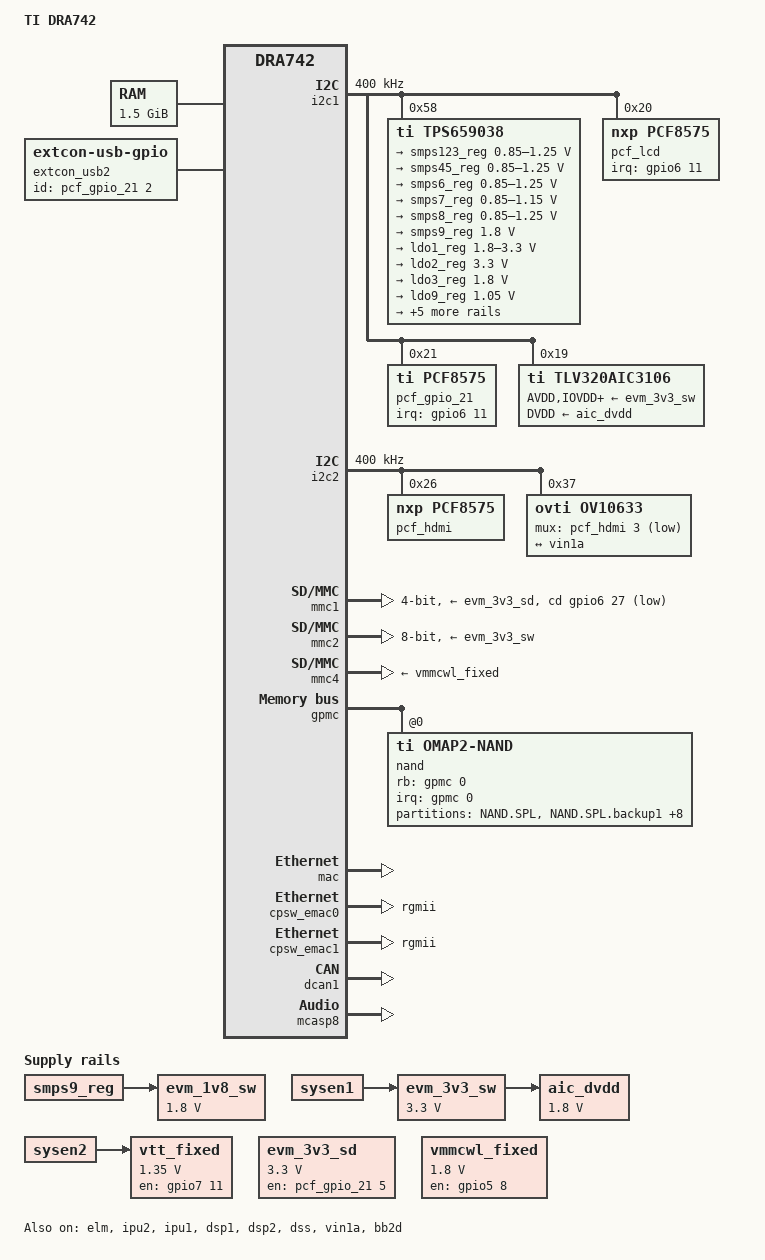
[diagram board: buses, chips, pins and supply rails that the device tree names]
/*
 * Copyright (C) 2013 Texas Instruments Incorporated - http://www.ti.com/
 *
 * This program is free software; you can redistribute it and/or modify
 * it under the terms of the GNU General Public License version 2 as
 * published by the Free Software Foundation.
 */
/dts-v1/;

#include "dra74x.dtsi"
#include "dra7-evm-common.dtsi"

/ {
	model = "TI DRA742";
	compatible = "ti,dra7-evm", "ti,dra742", "ti,dra74", "ti,dra7";

	memory {
		device_type = "memory";
		reg = <0x0 0x80000000 0x0 0x60000000>; /* 1536 MB */
	};

	reserved-memory {
		#address-cells = <2>;
		#size-cells = <2>;
		ranges;

		ipu2_cma_pool: ipu2_cma@95800000 {
			compatible = "shared-dma-pool";
			reg = <0x0 0x95800000 0x0 0x3800000>;
			reusable;
			status = "okay";
		};

		dsp1_cma_pool: dsp1_cma@99000000 {
			compatible = "shared-dma-pool";
			reg = <0x0 0x99000000 0x0 0x4000000>;
			reusable;
			status = "okay";
		};

		ipu1_cma_pool: ipu1_cma@9d000000 {
			compatible = "shared-dma-pool";
			reg = <0x0 0x9d000000 0x0 0x2000000>;
			reusable;
			status = "okay";
		};

		dsp2_cma_pool: dsp2_cma@9f000000 {
			compatible = "shared-dma-pool";
			reg = <0x0 0x9f000000 0x0 0x800000>;
			reusable;
			status = "okay";
		};
	};

	evm_1v8_sw: fixedregulator-evm_1v8 {
		compatible = "regulator-fixed";
		regulator-name = "evm_1v8";
		vin-supply = <&smps9_reg>;
		regulator-min-microvolt = <1800000>;
		regulator-max-microvolt = <1800000>;
	};

	evm_3v3_sd: fixedregulator-sd {
		compatible = "regulator-fixed";
		regulator-name = "evm_3v3_sd";
		regulator-min-microvolt = <3300000>;
		regulator-max-microvolt = <3300000>;
		enable-active-high;
		gpio = <&pcf_gpio_21 5 GPIO_ACTIVE_HIGH>;
	};

	evm_3v3_sw: fixedregulator-evm_3v3_sw {
		compatible = "regulator-fixed";
		regulator-name = "evm_3v3_sw";
		vin-supply = <&sysen1>;
		regulator-min-microvolt = <3300000>;
		regulator-max-microvolt = <3300000>;
	};

	aic_dvdd: fixedregulator-aic_dvdd {
		/* TPS77018DBVT */
		compatible = "regulator-fixed";
		regulator-name = "aic_dvdd";
		vin-supply = <&evm_3v3_sw>;
		regulator-min-microvolt = <1800000>;
		regulator-max-microvolt = <1800000>;
	};

	vmmcwl_fixed: fixedregulator-mmcwl {
		compatible = "regulator-fixed";
		regulator-name = "vmmcwl_fixed";
		regulator-min-microvolt = <1800000>;
		regulator-max-microvolt = <1800000>;
		gpio = <&gpio5 8 0>;	/* gpio5_8 */
		startup-delay-us = <70000>;
		enable-active-high;
	};

	vtt_fixed: fixedregulator-vtt {
		compatible = "regulator-fixed";
		regulator-name = "vtt_fixed";
		regulator-min-microvolt = <1350000>;
		regulator-max-microvolt = <1350000>;
		regulator-always-on;
		regulator-boot-on;
		enable-active-high;
		vin-supply = <&sysen2>;
		gpio = <&gpio7 11 GPIO_ACTIVE_HIGH>;
	};

	extcon_usb2: extcon_usb2 {
		compatible = "linux,extcon-usb-gpio";
		id-gpio = <&pcf_gpio_21 2 GPIO_ACTIVE_HIGH>;
	};

};

&tpd12s015 {
	compatible = "ti,dra7evm-tpd12s015";
	pinctrl-names = "i2c", "ddc";
	pinctrl-0 = <&hdmi_i2c_sel_pin &hdmi_i2c_pins_i2c>;
	pinctrl-1 = <&hdmi_i2c_sel_pin &hdmi_i2c_pins_ddc>;

	gpios = <&pcf_hdmi 4 GPIO_ACTIVE_HIGH>,	/* P4, CT CP HPD */
		<&pcf_hdmi 5 GPIO_ACTIVE_HIGH>,	/* P5, LS OE */
		<&gpio7 12 GPIO_ACTIVE_HIGH>;	/* gpio7_12/sp1_cs2, HPD */

	ddc-i2c-bus = <&i2c2>;
	mcasp-gpio = <&mcasp8>;
};

&dra7_pmx_core {
	hdmi_i2c_sel_pin: pinmux_hdmi_i2c_sel_pin {
		pinctrl-single,pins = <
			/* this pin is used as a GPIO via mcasp */
			0x2fc   (PIN_OUTPUT | MUX_MODE1) /* mcasp8_axr2 */
		>;
	};

	hdmi_i2c_pins_i2c: pinmux_hdmi_i2c_pins_default {
		pinctrl-single,pins = <
			0x408   (PIN_INPUT | MUX_MODE0) /* i2c2_sda.i2c2_sda */
			0x40c   (PIN_INPUT | MUX_MODE0) /* i2c2_scl.i2c2_scl */
		>;
	};

	hdmi_i2c_pins_ddc: pinmux_hdmi_i2c_pins_ddc {
		pinctrl-single,pins = <
			0x408   (PIN_INPUT | MUX_MODE1) /* i2c2_sda.hdmi1_ddc_scl */
			0x40c   (PIN_INPUT | MUX_MODE1) /* i2c2_scl.hdmi1_ddc_sda */
		>;
	};

	dcan1_pins_default: dcan1_pins_default {
		pinctrl-single,pins = <
			0x3d0   (PIN_OUTPUT_PULLUP | MUX_MODE0) /* dcan1_tx */
			0x418   (PULL_UP | MUX_MODE1) /* wakeup0.dcan1_rx */
		>;
	};

	dcan1_pins_sleep: dcan1_pins_sleep {
		pinctrl-single,pins = <
			0x3d0   (MUX_MODE15 | PULL_UP)	/* dcan1_tx.off */
			0x418   (MUX_MODE15 | PULL_UP)	/* wakeup0.off */
		>;
	};

	mmc1_pins_default: pinmux_mmc1_default_pins {
		pinctrl-single,pins = <
			0x354 (PIN_INPUT_PULLUP | MUX_MODE0)	/* mmc1_clk.clk */
			0x358 (PIN_INPUT_PULLUP | MUX_MODE0)	/* mmc1_cmd.cmd */
			0x35c (PIN_INPUT_PULLUP | MUX_MODE0)	/* mmc1_dat0.dat0 */
			0x360 (PIN_INPUT_PULLUP | MUX_MODE0)	/* mmc1_dat1.dat1 */
			0x364 (PIN_INPUT_PULLUP | MUX_MODE0)	/* mmc1_dat2.dat2 */
			0x368 (PIN_INPUT_PULLUP | MUX_MODE0)	/* mmc1_dat3.dat3 */
		>;
	};

	mmc1_pins_sdr12: pinmux_mmc1_sdr12_pins {
		pinctrl-single,pins = <
			0x354 (PIN_INPUT_PULLUP | MUX_MODE0)	/* mmc1_clk.clk */
			0x358 (PIN_INPUT_PULLUP | MUX_MODE0)	/* mmc1_cmd.cmd */
			0x35c (PIN_INPUT_PULLUP | MUX_MODE0)	/* mmc1_dat0.dat0 */
			0x360 (PIN_INPUT_PULLUP | MUX_MODE0)	/* mmc1_dat1.dat1 */
			0x364 (PIN_INPUT_PULLUP | MUX_MODE0)	/* mmc1_dat2.dat2 */
			0x368 (PIN_INPUT_PULLUP | MUX_MODE0)	/* mmc1_dat3.dat3 */
		>;
	};

	mmc1_pins_hs: pinmux_mmc1_hs_pins {
		pinctrl-single,pins = <
			0x354 (PIN_INPUT_PULLUP | MUX_VIRTUAL_MODE11 | MUX_MODE0)	/* mmc1_clk.clk */
			0x358 (PIN_INPUT_PULLUP | MUX_VIRTUAL_MODE11 | MUX_MODE0)	/* mmc1_cmd.cmd */
			0x35c (PIN_INPUT_PULLUP | MUX_VIRTUAL_MODE11 | MUX_MODE0)	/* mmc1_dat0.dat0 */
			0x360 (PIN_INPUT_PULLUP | MUX_VIRTUAL_MODE11 | MUX_MODE0)	/* mmc1_dat1.dat1 */
			0x364 (PIN_INPUT_PULLUP | MUX_VIRTUAL_MODE11 | MUX_MODE0)	/* mmc1_dat2.dat2 */
			0x368 (PIN_INPUT_PULLUP | MUX_VIRTUAL_MODE11 | MUX_MODE0)	/* mmc1_dat3.dat3 */
		>;
	};

	mmc1_pins_sdr25: pinmux_mmc1_sdr25_pins {
		pinctrl-single,pins = <
			0x354 (PIN_INPUT_PULLUP | MUX_VIRTUAL_MODE11 | MUX_MODE0)	/* mmc1_clk.clk */
			0x358 (PIN_INPUT_PULLUP | MUX_VIRTUAL_MODE11 | MUX_MODE0)	/* mmc1_cmd.cmd */
			0x35c (PIN_INPUT_PULLUP | MUX_VIRTUAL_MODE11 | MUX_MODE0)	/* mmc1_dat0.dat0 */
			0x360 (PIN_INPUT_PULLUP | MUX_VIRTUAL_MODE11 | MUX_MODE0)	/* mmc1_dat1.dat1 */
			0x364 (PIN_INPUT_PULLUP | MUX_VIRTUAL_MODE11 | MUX_MODE0)	/* mmc1_dat2.dat2 */
			0x368 (PIN_INPUT_PULLUP | MUX_VIRTUAL_MODE11 | MUX_MODE0)	/* mmc1_dat3.dat3 */
		>;
	};

	mmc1_pins_sdr50: pinmux_mmc1_sdr50_pins {
		pinctrl-single,pins = <
			0x354 (PIN_INPUT_PULLUP | MUX_VIRTUAL_MODE10 | MUX_MODE0)	/* mmc1_clk.clk */
			0x358 (PIN_INPUT_PULLUP | MUX_VIRTUAL_MODE10 | MUX_MODE0)	/* mmc1_cmd.cmd */
			0x35c (PIN_INPUT_PULLUP | MUX_VIRTUAL_MODE10 | MUX_MODE0)	/* mmc1_dat0.dat0 */
			0x360 (PIN_INPUT_PULLUP | MUX_VIRTUAL_MODE10 | MUX_MODE0)	/* mmc1_dat1.dat1 */
			0x364 (PIN_INPUT_PULLUP | MUX_VIRTUAL_MODE10 | MUX_MODE0)	/* mmc1_dat2.dat2 */
			0x368 (PIN_INPUT_PULLUP | MUX_VIRTUAL_MODE10 | MUX_MODE0)	/* mmc1_dat3.dat3 */
		>;
	};

	mmc1_pins_ddr50: pinmux_mmc1_ddr50_pins {
		pinctrl-single,pins = <
			0x354 (PIN_INPUT_PULLUP | MANUAL_MODE | MUX_MODE0)	/* mmc1_clk.clk */
			0x358 (PIN_INPUT_PULLUP | MANUAL_MODE | MUX_MODE0)	/* mmc1_cmd.cmd */
			0x35c (PIN_INPUT_PULLUP | MANUAL_MODE | MUX_MODE0)	/* mmc1_dat0.dat0 */
			0x360 (PIN_INPUT_PULLUP | MANUAL_MODE | MUX_MODE0)	/* mmc1_dat1.dat1 */
			0x364 (PIN_INPUT_PULLUP | MANUAL_MODE | MUX_MODE0)	/* mmc1_dat2.dat2 */
			0x368 (PIN_INPUT_PULLUP | MANUAL_MODE | MUX_MODE0)	/* mmc1_dat3.dat3 */
		>;
	};

	mmc1_pins_sdr104: pinmux_mmc1_sdr104_pins {
		pinctrl-single,pins = <
			0x354 (PIN_INPUT_PULLUP | MANUAL_MODE | MUX_MODE0)	/* mmc1_clk.clk */
			0x358 (PIN_INPUT_PULLUP | MANUAL_MODE | MUX_MODE0)	/* mmc1_cmd.cmd */
			0x35c (PIN_INPUT_PULLUP | MANUAL_MODE | MUX_MODE0)	/* mmc1_dat0.dat0 */
			0x360 (PIN_INPUT_PULLUP | MANUAL_MODE | MUX_MODE0)	/* mmc1_dat1.dat1 */
			0x364 (PIN_INPUT_PULLUP | MANUAL_MODE | MUX_MODE0)	/* mmc1_dat2.dat2 */
			0x368 (PIN_INPUT_PULLUP | MANUAL_MODE | MUX_MODE0)	/* mmc1_dat3.dat3 */
		>;
	};

	mmc2_pins_default: mmc2_pins_default {
		pinctrl-single,pins = <
			0x9c (PIN_INPUT_PULLUP | MUX_MODE1)	/* gpmc_a23.mmc2_clk */
			0xb0 (PIN_INPUT_PULLUP | MUX_MODE1)	/* gpmc_cs1.mmc2_cmd */
			0xa0 (PIN_INPUT_PULLUP | MUX_MODE1)	/* gpmc_a24.mmc2_dat0 */
			0xa4 (PIN_INPUT_PULLUP | MUX_MODE1)	/* gpmc_a25.mmc2_dat1 */
			0xa8 (PIN_INPUT_PULLUP | MUX_MODE1)	/* gpmc_a26.mmc2_dat2 */
			0xac (PIN_INPUT_PULLUP | MUX_MODE1)	/* gpmc_a27.mmc2_dat3 */
			0x8c (PIN_INPUT_PULLUP | MUX_MODE1)	/* gpmc_a19.mmc2_dat4 */
			0x90 (PIN_INPUT_PULLUP | MUX_MODE1)	/* gpmc_a20.mmc2_dat5 */
			0x94 (PIN_INPUT_PULLUP | MUX_MODE1)	/* gpmc_a21.mmc2_dat6 */
			0x98 (PIN_INPUT_PULLUP | MUX_MODE1)	/* gpmc_a22.mmc2_dat7 */
		>;
	};

	mmc2_pins_hs: mmc2_pins_hs {
		pinctrl-single,pins = <
			0x9c (PIN_INPUT_PULLUP | MUX_MODE1)	/* gpmc_a23.mmc2_clk */
			0xb0 (PIN_INPUT_PULLUP | MUX_MODE1)	/* gpmc_cs1.mmc2_cmd */
			0xa0 (PIN_INPUT_PULLUP | MUX_MODE1)	/* gpmc_a24.mmc2_dat0 */
			0xa4 (PIN_INPUT_PULLUP | MUX_MODE1)	/* gpmc_a25.mmc2_dat1 */
			0xa8 (PIN_INPUT_PULLUP | MUX_MODE1)	/* gpmc_a26.mmc2_dat2 */
			0xac (PIN_INPUT_PULLUP | MUX_MODE1)	/* gpmc_a27.mmc2_dat3 */
			0x8c (PIN_INPUT_PULLUP | MUX_MODE1)	/* gpmc_a19.mmc2_dat4 */
			0x90 (PIN_INPUT_PULLUP | MUX_MODE1)	/* gpmc_a20.mmc2_dat5 */
			0x94 (PIN_INPUT_PULLUP | MUX_MODE1)	/* gpmc_a21.mmc2_dat6 */
			0x98 (PIN_INPUT_PULLUP | MUX_MODE1)	/* gpmc_a22.mmc2_dat7 */
		>;
	};

	mmc2_pins_ddr_1_8v: pinmux_mmc2_ddr_1_8v_pins {
		pinctrl-single,pins = <
			0x9c (PIN_INPUT_PULLUP | MANUAL_MODE | MUX_MODE1) /* gpmc_a23.mmc2_clk */
			0xb0 (PIN_INPUT_PULLUP | MANUAL_MODE | MUX_MODE1) /* gpmc_cs1.mmc2_cmd */
			0xa0 (PIN_INPUT_PULLUP | MANUAL_MODE | MUX_MODE1) /* gpmc_a24.mmc2_dat0 */
			0xa4 (PIN_INPUT_PULLUP | MANUAL_MODE | MUX_MODE1) /* gpmc_a25.mmc2_dat1 */
			0xa8 (PIN_INPUT_PULLUP | MANUAL_MODE | MUX_MODE1) /* gpmc_a26.mmc2_dat2 */
			0xac (PIN_INPUT_PULLUP | MANUAL_MODE | MUX_MODE1) /* gpmc_a27.mmc2_dat3 */
			0x8c (PIN_INPUT_PULLUP | MANUAL_MODE | MUX_MODE1) /* gpmc_a19.mmc2_dat4 */
			0x90 (PIN_INPUT_PULLUP | MANUAL_MODE | MUX_MODE1) /* gpmc_a20.mmc2_dat5 */
			0x94 (PIN_INPUT_PULLUP | MANUAL_MODE | MUX_MODE1) /* gpmc_a21.mmc2_dat6 */
			0x98 (PIN_INPUT_PULLUP | MANUAL_MODE | MUX_MODE1) /* gpmc_a22.mmc2_dat7 */
		>;
	};

	mmc2_pins_hs200_1_8v: mmc2_pins_hs200_1_8v {
		pinctrl-single,pins = <
			0x9c (PIN_INPUT_PULLUP | MANUAL_MODE | MUX_MODE1) /* gpmc_a23.mmc2_clk */
			0xb0 (PIN_INPUT_PULLUP | MANUAL_MODE | MUX_MODE1) /* gpmc_cs1.mmc2_cmd */
			0xa0 (PIN_INPUT_PULLUP | MANUAL_MODE | MUX_MODE1) /* gpmc_a24.mmc2_dat0 */
			0xa4 (PIN_INPUT_PULLUP | MANUAL_MODE | MUX_MODE1) /* gpmc_a25.mmc2_dat1 */
			0xa8 (PIN_INPUT_PULLUP | MANUAL_MODE | MUX_MODE1) /* gpmc_a26.mmc2_dat2 */
			0xac (PIN_INPUT_PULLUP | MANUAL_MODE | MUX_MODE1) /* gpmc_a27.mmc2_dat3 */
			0x8c (PIN_INPUT_PULLUP | MANUAL_MODE | MUX_MODE1) /* gpmc_a19.mmc2_dat4 */
			0x90 (PIN_INPUT_PULLUP | MANUAL_MODE | MUX_MODE1) /* gpmc_a20.mmc2_dat5 */
			0x94 (PIN_INPUT_PULLUP | MANUAL_MODE | MUX_MODE1) /* gpmc_a21.mmc2_dat6 */
			0x98 (PIN_INPUT_PULLUP | MANUAL_MODE | MUX_MODE1) /* gpmc_a22.mmc2_dat7 */
		>;
	};

	mmc4_pins_default: mmc4_pins_default {
		pinctrl-single,pins = <
			0x3e8 (PIN_INPUT_PULLUP | MANUAL_MODE | MUX_MODE3) /* uart1_ctsn.mmc4_clk */
			0x3ec (PIN_INPUT_PULLUP | MANUAL_MODE | MUX_MODE3) /* uart1_rtsn.mmc4_cmd */
			0x3f0 (PIN_INPUT_PULLUP | MANUAL_MODE | MUX_MODE3) /* uart2_rxd.mmc4_dat0 */
			0x3f4 (PIN_INPUT_PULLUP | MANUAL_MODE | MUX_MODE3) /* uart2_txd.mmc4_dat1 */
			0x3f8 (PIN_INPUT_PULLUP | MANUAL_MODE | MUX_MODE3) /* uart2_ctsn.mmc4_dat2 */
			0x3fC (PIN_INPUT_PULLUP | MANUAL_MODE | MUX_MODE3) /* uart2_rtsn.mmc4_dat3 */
		>;
	};

	mmc4_pins_hs: mmc4_pins_hs {
		pinctrl-single,pins = <
			0x3e8 (PIN_INPUT_PULLUP | MANUAL_MODE | MUX_MODE3) /* uart1_ctsn.mmc4_clk */
			0x3ec (PIN_INPUT_PULLUP | MANUAL_MODE | MUX_MODE3) /* uart1_rtsn.mmc4_cmd */
			0x3f0 (PIN_INPUT_PULLUP | MANUAL_MODE | MUX_MODE3) /* uart2_rxd.mmc4_dat0 */
			0x3f4 (PIN_INPUT_PULLUP | MANUAL_MODE | MUX_MODE3) /* uart2_txd.mmc4_dat1 */
			0x3f8 (PIN_INPUT_PULLUP | MANUAL_MODE | MUX_MODE3) /* uart2_ctsn.mmc4_dat2 */
			0x3fC (PIN_INPUT_PULLUP | MANUAL_MODE | MUX_MODE3) /* uart2_rtsn.mmc4_dat3 */
		>;
	};

	mmc4_pins_sdr12: mmc4_pins_sdr12 {
		pinctrl-single,pins = <
			0x3e8 (PIN_INPUT_PULLUP | MANUAL_MODE | MUX_MODE3) /* uart1_ctsn.mmc4_clk */
			0x3eC (PIN_INPUT_PULLUP | MANUAL_MODE | MUX_MODE3) /* uart1_rtsn.mmc4_cmd */
			0x3f0 (PIN_INPUT_PULLUP | MANUAL_MODE | MUX_MODE3) /* uart2_rxd.mmc4_dat0 */
			0x3f4 (PIN_INPUT_PULLUP | MANUAL_MODE | MUX_MODE3) /* uart2_txd.mmc4_dat1 */
			0x3f8 (PIN_INPUT_PULLUP | MANUAL_MODE | MUX_MODE3) /* uart2_ctsn.mmc4_dat2 */
			0x3fc (PIN_INPUT_PULLUP | MANUAL_MODE | MUX_MODE3) /* uart2_rtsn.mmc4_dat3 */
		>;
	};

	mmc4_pins_sdr25: mmc4_pins_sdr25 {
		pinctrl-single,pins = <
			0x3e8 (PIN_INPUT_PULLUP | MANUAL_MODE | MUX_MODE3) /* uart1_ctsn.mmc4_clk */
			0x3eC (PIN_INPUT_PULLUP | MANUAL_MODE | MUX_MODE3) /* uart1_rtsn.mmc4_cmd */
			0x3f0 (PIN_INPUT_PULLUP | MANUAL_MODE | MUX_MODE3) /* uart2_rxd.mmc4_dat0 */
			0x3f4 (PIN_INPUT_PULLUP | MANUAL_MODE | MUX_MODE3) /* uart2_txd.mmc4_dat1 */
			0x3f8 (PIN_INPUT_PULLUP | MANUAL_MODE | MUX_MODE3) /* uart2_ctsn.mmc4_dat2 */
			0x3fc (PIN_INPUT_PULLUP | MANUAL_MODE | MUX_MODE3) /* uart2_rtsn.mmc4_dat3 */
		>;
	};
};

&dra7_iodelay_core {
	mmc1_iodelay_ddr50_rev11_conf: mmc1_iodelay_ddr50_rev11_conf {
		pinctrl-single,pins = <
			0x618 (A_DELAY(572) | G_DELAY(540))	/* CFG_MMC1_CLK_IN */
			0x624 (A_DELAY(0) | G_DELAY(600))	/* CFG_MMC1_CMD_IN */
			0x630 (A_DELAY(403) | G_DELAY(120))	/* CFG_MMC1_DAT0_IN */
			0x63c (A_DELAY(23) | G_DELAY(60))	/* CFG_MMC1_DAT1_IN */
			0x648 (A_DELAY(25) | G_DELAY(60))	/* CFG_MMC1_DAT2_IN */
			0x654 (A_DELAY(0) | G_DELAY(0))		/* CFG_MMC1_DAT3_IN */
			0x620 (A_DELAY(1525) | G_DELAY(0))	/* CFG_MMC1_CLK_OUT */
			0x628 (A_DELAY(0) | G_DELAY(0))		/* CFG_MMC1_CMD_OEN */
			0x62c (A_DELAY(55) | G_DELAY(0))	/* CFG_MMC1_CMD_OUT */
			0x634 (A_DELAY(0) | G_DELAY(0))		/* CFG_MMC1_DAT0_OEN */
			0x638 (A_DELAY(0) | G_DELAY(0))		/* CFG_MMC1_DAT0_OUT */
			0x640 (A_DELAY(0) | G_DELAY(0))		/* CFG_MMC1_DAT1_OEN */
			0x644 (A_DELAY(0) | G_DELAY(0))		/* CFG_MMC1_DAT1_OUT */
			0x64c (A_DELAY(0) | G_DELAY(0))		/* CFG_MMC1_DAT2_OEN */
			0x650 (A_DELAY(0) | G_DELAY(0))		/* CFG_MMC1_DAT2_OUT */
			0x658 (A_DELAY(0) | G_DELAY(0))		/* CFG_MMC1_DAT3_OEN */
			0x65c (A_DELAY(0) | G_DELAY(0))		/* CFG_MMC1_DAT3_OUT */
		>;
	};

	mmc1_iodelay_ddr50_rev20_conf: mmc1_iodelay_ddr50_rev20_conf {
		pinctrl-single,pins = <
			0x618 (A_DELAY(0) | G_DELAY(0))		/* CFG_MMC1_CLK_IN */
			0x620 (A_DELAY(1271) | G_DELAY(0))	/* CFG_MMC1_CLK_OUT */
			0x624 (A_DELAY(229) | G_DELAY(0))	/* CFG_MMC1_CMD_IN */
			0x628 (A_DELAY(0) | G_DELAY(0))		/* CFG_MMC1_CMD_OEN */
			0x62C (A_DELAY(0) | G_DELAY(0))		/* CFG_MMC1_CMD_OUT */
			0x630 (A_DELAY(850) | G_DELAY(0))	/* CFG_MMC1_DAT0_IN */
			0x634 (A_DELAY(0) | G_DELAY(0))		/* CFG_MMC1_DAT0_OEN */
			0x638 (A_DELAY(20) | G_DELAY(0))	/* CFG_MMC1_DAT0_OUT */
			0x63C (A_DELAY(468) | G_DELAY(0))	/* CFG_MMC1_DAT1_IN */
			0x640 (A_DELAY(0) | G_DELAY(0))		/* CFG_MMC1_DAT1_OEN */
			0x644 (A_DELAY(0) | G_DELAY(0))		/* CFG_MMC1_DAT1_OUT */
			0x648 (A_DELAY(466) | G_DELAY(0))	/* CFG_MMC1_DAT2_IN */
			0x64C (A_DELAY(0) | G_DELAY(0))		/* CFG_MMC1_DAT2_OEN */
			0x650 (A_DELAY(0) | G_DELAY(0))		/* CFG_MMC1_DAT2_OUT */
			0x654 (A_DELAY(399) | G_DELAY(0))	/* CFG_MMC1_DAT3_IN */
			0x658 (A_DELAY(0) | G_DELAY(0))		/* CFG_MMC1_DAT3_OEN */
			0x65C (A_DELAY(0) | G_DELAY(0))		/* CFG_MMC1_DAT3_OUT */
		>;
	};

	mmc1_iodelay_sdr104_rev11_conf: mmc1_iodelay_sdr104_rev11_conf {
		pinctrl-single,pins = <
			0x620 (A_DELAY(1063) | G_DELAY(17))	/* CFG_MMC1_CLK_OUT */
			0x628 (A_DELAY(0) | G_DELAY(0))		/* CFG_MMC1_CMD_OEN */
			0x62c (A_DELAY(23) | G_DELAY(0))	/* CFG_MMC1_CMD_OUT */
			0x634 (A_DELAY(0) | G_DELAY(0))		/* CFG_MMC1_DAT0_OEN */
			0x638 (A_DELAY(0) | G_DELAY(0))		/* CFG_MMC1_DAT0_OUT */
			0x640 (A_DELAY(0) | G_DELAY(0))		/* CFG_MMC1_DAT1_OEN */
			0x644 (A_DELAY(2) | G_DELAY(0))		/* CFG_MMC1_DAT1_OUT */
			0x64c (A_DELAY(0) | G_DELAY(0))		/* CFG_MMC1_DAT2_OEN */
			0x650 (A_DELAY(0) | G_DELAY(0))		/* CFG_MMC1_DAT2_OUT */
			0x658 (A_DELAY(0) | G_DELAY(0))		/* CFG_MMC1_DAT3_OEN */
			0x65c (A_DELAY(0) | G_DELAY(0))		/* CFG_MMC1_DAT3_OUT */
		>;
	};

	mmc1_iodelay_sdr104_rev20_conf: mmc1_iodelay_sdr104_rev20_conf {
		pinctrl-single,pins = <
			0x620 (A_DELAY(600) | G_DELAY(400))	/* CFG_MMC1_CLK_OUT */
			0x628 (A_DELAY(0) | G_DELAY(0))		/* CFG_MMC1_CMD_OEN */
			0x62c (A_DELAY(0) | G_DELAY(0))		/* CFG_MMC1_CMD_OUT */
			0x634 (A_DELAY(0) | G_DELAY(0))		/* CFG_MMC1_DAT0_OEN */
			0x638 (A_DELAY(30) | G_DELAY(0))	/* CFG_MMC1_DAT0_OUT */
			0x640 (A_DELAY(0) | G_DELAY(0))		/* CFG_MMC1_DAT1_OEN */
			0x644 (A_DELAY(0) | G_DELAY(0))		/* CFG_MMC1_DAT1_OUT */
			0x64c (A_DELAY(0) | G_DELAY(0))		/* CFG_MMC1_DAT2_OEN */
			0x650 (A_DELAY(0) | G_DELAY(0))		/* CFG_MMC1_DAT2_OUT */
			0x658 (A_DELAY(0) | G_DELAY(0))		/* CFG_MMC1_DAT3_OEN */
			0x65c (A_DELAY(0) | G_DELAY(0))		/* CFG_MMC1_DAT3_OUT */
		>;
	};

	mmc2_iodelay_hs200_1_8v_rev11_conf: mmc2_iodelay_hs200_1_8v_rev11_conf {
		pinctrl-single,pins = <
			0x190 (A_DELAY(621) | G_DELAY(600))	/* CFG_GPMC_A19_OEN */
			0x194 (A_DELAY(300) | G_DELAY(0))	/* CFG_GPMC_A19_OUT */
			0x1a8 (A_DELAY(739) | G_DELAY(600))	/* CFG_GPMC_A20_OEN */
			0x1ac (A_DELAY(240) | G_DELAY(0))	/* CFG_GPMC_A20_OUT */
			0x1b4 (A_DELAY(812) | G_DELAY(600))	/* CFG_GPMC_A21_OEN */
			0x1b8 (A_DELAY(240) | G_DELAY(0))	/* CFG_GPMC_A21_OUT */
			0x1c0 (A_DELAY(954) | G_DELAY(600))	/* CFG_GPMC_A22_OEN */
			0x1c4 (A_DELAY(60)  | G_DELAY(0))	/* CFG_GPMC_A22_OUT */
			0x1d0 (A_DELAY(1340)| G_DELAY(420))	/* CFG_GPMC_A23_OUT */
			0x1d8 (A_DELAY(935) | G_DELAY(600))	/* CFG_GPMC_A24_OEN */
			0x1dc (A_DELAY(0) | G_DELAY(0))		/* CFG_GPMC_A24_OUT */
			0x1e4 (A_DELAY(525) | G_DELAY(600))	/* CFG_GPMC_A25_OEN */
			0x1e8 (A_DELAY(120) | G_DELAY(0))	/* CFG_GPMC_A25_OUT */
			0x1f0 (A_DELAY(767) | G_DELAY(600))	/* CFG_GPMC_A26_OEN */
			0x1f4 (A_DELAY(225) | G_DELAY(0))	/* CFG_GPMC_A26_OUT */
			0x1fc (A_DELAY(565) | G_DELAY(600))	/* CFG_GPMC_A27_OEN */
			0x200 (A_DELAY(60) | G_DELAY(0))	/* CFG_GPMC_A27_OUT */
			0x364 (A_DELAY(969) | G_DELAY(600))	/* CFG_GPMC_CS1_OEN */
			0x368 (A_DELAY(180) | G_DELAY(0))	/* CFG_GPMC_CS1_OUT */
	      >;
	};

	mmc2_iodelay_hs200_1_8v_rev20_conf: mmc2_iodelay_hs200_1_8v_rev20_conf {
		pinctrl-single,pins = <
			0x190 (A_DELAY(274) | G_DELAY(0))       /* CFG_GPMC_A19_OEN */
			0x194 (A_DELAY(162) | G_DELAY(0))       /* CFG_GPMC_A19_OUT */
			0x1a8 (A_DELAY(401) | G_DELAY(0))       /* CFG_GPMC_A20_OEN */
			0x1ac (A_DELAY(73) | G_DELAY(0))        /* CFG_GPMC_A20_OUT */
			0x1b4 (A_DELAY(465) | G_DELAY(0))       /* CFG_GPMC_A21_OEN */
			0x1b8 (A_DELAY(115) | G_DELAY(0))       /* CFG_GPMC_A21_OUT */
			0x1c0 (A_DELAY(633) | G_DELAY(0))       /* CFG_GPMC_A22_OEN */
			0x1c4 (A_DELAY(47) | G_DELAY(0))        /* CFG_GPMC_A22_OUT */
			0x1d0 (A_DELAY(935) | G_DELAY(280))     /* CFG_GPMC_A23_OUT */
			0x1d8 (A_DELAY(621) | G_DELAY(0))       /* CFG_GPMC_A24_OEN */
			0x1dc (A_DELAY(0) | G_DELAY(0))         /* CFG_GPMC_A24_OUT */
			0x1e4 (A_DELAY(183) | G_DELAY(0))       /* CFG_GPMC_A25_OEN */
			0x1e8 (A_DELAY(0) | G_DELAY(0))         /* CFG_GPMC_A25_OUT */
			0x1f0 (A_DELAY(467) | G_DELAY(0))       /* CFG_GPMC_A26_OEN */
			0x1f4 (A_DELAY(0) | G_DELAY(0))         /* CFG_GPMC_A26_OUT */
			0x1fc (A_DELAY(262) | G_DELAY(0))       /* CFG_GPMC_A27_OEN */
			0x200 (A_DELAY(46) | G_DELAY(0))        /* CFG_GPMC_A27_OUT */
			0x364 (A_DELAY(684) | G_DELAY(0))       /* CFG_GPMC_CS1_OEN */
			0x368 (A_DELAY(76) | G_DELAY(0))        /* CFG_GPMC_CS1_OUT */
	      >;
	};

	mmc2_iodelay_ddr_1_8v_rev11_conf: mmc2_iodelay_ddr_1_8v_rev11_conf {
		pinctrl-single,pins = <
			0x18c (A_DELAY(0) | G_DELAY(0))		/* CFG_GPMC_A19_IN */
			0x1a4 (A_DELAY(274) | G_DELAY(240))	/* CFG_GPMC_A20_IN */
			0x1b0 (A_DELAY(0) | G_DELAY(60))	/* CFG_GPMC_A21_IN */
			0x1bc (A_DELAY(0) | G_DELAY(60))	/* CFG_GPMC_A22_IN */
			0x1c8 (A_DELAY(514) | G_DELAY(360))	/* CFG_GPMC_A23_IN */
			0x1d4 (A_DELAY(187) | G_DELAY(120))	/* CFG_GPMC_A24_IN */
			0x1e0 (A_DELAY(0) | G_DELAY(0))		/* CFG_GPMC_A25_IN */
			0x1ec (A_DELAY(0) | G_DELAY(60))	/* CFG_GPMC_A26_IN */
			0x1f8 (A_DELAY(121) | G_DELAY(60))	/* CFG_GPMC_A27_IN */
			0x360 (A_DELAY(0) | G_DELAY(0))		/* CFG_GPMC_CS1_IN */
			0x190 (A_DELAY(0) | G_DELAY(0))		/* CFG_GPMC_A19_OEN */
			0x194 (A_DELAY(174) | G_DELAY(0))	/* CFG_GPMC_A19_OUT */
			0x1a8 (A_DELAY(0) | G_DELAY(0))		/* CFG_GPMC_A20_OEN */
			0x1ac (A_DELAY(168) | G_DELAY(0))	/* CFG_GPMC_A20_OUT */
			0x1b4 (A_DELAY(0) | G_DELAY(0))		/* CFG_GPMC_A21_OEN */
			0x1b8 (A_DELAY(136) | G_DELAY(0))	/* CFG_GPMC_A21_OUT */
			0x1c0 (A_DELAY(0) | G_DELAY(0))		/* CFG_GPMC_A22_OEN */
			0x1c4 (A_DELAY(0) | G_DELAY(0))		/* CFG_GPMC_A22_OUT */
			0x1d0 (A_DELAY(879) | G_DELAY(0))	/* CFG_GPMC_A23_OUT */
			0x1d8 (A_DELAY(0) | G_DELAY(0))		/* CFG_GPMC_A24_OEN */
			0x1dc (A_DELAY(0) | G_DELAY(0))		/* CFG_GPMC_A24_OUT */
			0x1e4 (A_DELAY(0) | G_DELAY(0))		/* CFG_GPMC_A25_OEN */
			0x1e8 (A_DELAY(34) | G_DELAY(0))	/* CFG_GPMC_A25_OUT */
			0x1f0 (A_DELAY(0) | G_DELAY(0))		/* CFG_GPMC_A26_OEN */
			0x1f4 (A_DELAY(120) | G_DELAY(0))	/* CFG_GPMC_A26_OUT */
			0x1fc (A_DELAY(0) | G_DELAY(0))		/* CFG_GPMC_A27_OEN */
			0x200 (A_DELAY(0) | G_DELAY(0))		/* CFG_GPMC_A27_OUT */
			0x364 (A_DELAY(0) | G_DELAY(0))		/* CFG_GPMC_CS1_OEN */
			0x368 (A_DELAY(11) | G_DELAY(0))	/* CFG_GPMC_CS1_OUT */
		>;
	};

	mmc2_iodelay_ddr_1_8v_rev20_conf: mmc2_iodelay_ddr_1_8v_rev20_conf {
		pinctrl-single,pins = <
			0x18c (A_DELAY(270) | G_DELAY(0))	/* CFG_GPMC_A19_IN */
			0x1a4 (A_DELAY(0) | G_DELAY(0))		/* CFG_GPMC_A20_IN */
			0x1b0 (A_DELAY(170) | G_DELAY(0))	/* CFG_GPMC_A21_IN */
			0x1bc (A_DELAY(758) | G_DELAY(0))	/* CFG_GPMC_A22_IN */
			0x1c8 (A_DELAY(0) | G_DELAY(0))		/* CFG_GPMC_A23_IN */
			0x1d4 (A_DELAY(81) | G_DELAY(0))	/* CFG_GPMC_A24_IN */
			0x1e0 (A_DELAY(286) | G_DELAY(0))	/* CFG_GPMC_A25_IN */
			0x1ec (A_DELAY(0) | G_DELAY(0))		/* CFG_GPMC_A26_IN */
			0x1f8 (A_DELAY(123) | G_DELAY(0))	/* CFG_GPMC_A27_IN */
			0x360 (A_DELAY(346) | G_DELAY(0))	/* CFG_GPMC_CS1_IN */
			0x190 (A_DELAY(0) | G_DELAY(0))		/* CFG_GPMC_A19_OEN */
			0x194 (A_DELAY(55) | G_DELAY(0))	/* CFG_GPMC_A19_OUT */
			0x1a8 (A_DELAY(0) | G_DELAY(0))		/* CFG_GPMC_A20_OEN */
			0x1ac (A_DELAY(422) | G_DELAY(0))	/* CFG_GPMC_A20_OUT */
			0x1b4 (A_DELAY(642) | G_DELAY(0))	/* CFG_GPMC_A21_OEN */
			0x1b8 (A_DELAY(0) | G_DELAY(0))		/* CFG_GPMC_A21_OUT */
			0x1c0 (A_DELAY(0) | G_DELAY(0))		/* CFG_GPMC_A22_OEN */
			0x1c4 (A_DELAY(128) | G_DELAY(0))	/* CFG_GPMC_A22_OUT */
			0x1d0 (A_DELAY(0) | G_DELAY(0))		/* CFG_GPMC_A23_OUT */
			0x1d8 (A_DELAY(0) | G_DELAY(0))		/* CFG_GPMC_A24_OEN */
			0x1dc (A_DELAY(395) | G_DELAY(0))	/* CFG_GPMC_A24_OUT */
			0x1e4 (A_DELAY(0) | G_DELAY(0))		/* CFG_GPMC_A25_OEN */
			0x1e8 (A_DELAY(0) | G_DELAY(0))		/* CFG_GPMC_A25_OUT */
			0x1f0 (A_DELAY(623) | G_DELAY(0))	/* CFG_GPMC_A26_OEN */
			0x1f4 (A_DELAY(0) | G_DELAY(0))		/* CFG_GPMC_A26_OUT */
			0x1fc (A_DELAY(54) | G_DELAY(0))	/* CFG_GPMC_A27_OEN */
			0x200 (A_DELAY(0) | G_DELAY(0))		/* CFG_GPMC_A27_OUT */
			0x364 (A_DELAY(0) | G_DELAY(0))		/* CFG_GPMC_CS1_OEN */
			0x368 (A_DELAY(0) | G_DELAY(0))		/* CFG_GPMC_CS1_OUT */
		>;
	};

	mmc4_iodelay_ds_rev11_conf: mmc4_iodelay_ds_rev11_conf {
		pinctrl-single,pins = <
			0x840 (A_DELAY(0) | G_DELAY(0))		/* CFG_UART1_CTSN_IN */
			0x848 (A_DELAY(0) | G_DELAY(0))		/* CFG_UART1_CTSN_OUT */
			0x84c (A_DELAY(96) | G_DELAY(0))	/* CFG_UART1_RTSN_IN */
			0x850 (A_DELAY(0) | G_DELAY(0))		/* CFG_UART1_RTSN_OEN */
			0x854 (A_DELAY(0) | G_DELAY(0))		/* CFG_UART1_RTSN_OUT */
			0x870 (A_DELAY(582) | G_DELAY(0))	/* CFG_UART2_CTSN_IN */
			0x874 (A_DELAY(0) | G_DELAY(0))		/* CFG_UART2_CTSN_OEN */
			0x878 (A_DELAY(0) | G_DELAY(0))		/* CFG_UART2_CTSN_OUT */
			0x87c (A_DELAY(391) | G_DELAY(0))	/* CFG_UART2_RTSN_IN */
			0x880 (A_DELAY(0) | G_DELAY(0))		/* CFG_UART2_RTSN_OEN */
			0x884 (A_DELAY(0) | G_DELAY(0))		/* CFG_UART2_RTSN_OUT */
			0x888 (A_DELAY(561) | G_DELAY(0))	/* CFG_UART2_RXD_IN */
			0x88c (A_DELAY(0) | G_DELAY(0))		/* CFG_UART2_RXD_OEN */
			0x890 (A_DELAY(0) | G_DELAY(0))		/* CFG_UART2_RXD_OUT */
			0x894 (A_DELAY(588) | G_DELAY(0))	/* CFG_UART2_TXD_IN */
			0x898 (A_DELAY(0) | G_DELAY(0))		/* CFG_UART2_TXD_OEN */
			0x89c (A_DELAY(0) | G_DELAY(0))		/* CFG_UART2_TXD_OUT */
		>;
	};

	mmc4_iodelay_ds_rev20_conf: mmc4_iodelay_ds_rev20_conf {
		pinctrl-single,pins = <
			0x840 (A_DELAY(0) | G_DELAY(0))		/* CFG_UART1_CTSN_IN */
			0x848 (A_DELAY(0) | G_DELAY(0))		/* CFG_UART1_CTSN_OUT */
			0x84c (A_DELAY(307) | G_DELAY(0))	/* CFG_UART1_RTSN_IN */
			0x850 (A_DELAY(0) | G_DELAY(0))		/* CFG_UART1_RTSN_OEN */
			0x854 (A_DELAY(0) | G_DELAY(0))		/* CFG_UART1_RTSN_OUT */
			0x870 (A_DELAY(785) | G_DELAY(0))	/* CFG_UART2_CTSN_IN */
			0x874 (A_DELAY(0) | G_DELAY(0))		/* CFG_UART2_CTSN_OEN */
			0x878 (A_DELAY(0) | G_DELAY(0))		/* CFG_UART2_CTSN_OUT */
			0x87c (A_DELAY(613) | G_DELAY(0))	/* CFG_UART2_RTSN_IN */
			0x880 (A_DELAY(0) | G_DELAY(0))		/* CFG_UART2_RTSN_OEN */
			0x884 (A_DELAY(0) | G_DELAY(0))		/* CFG_UART2_RTSN_OUT */
			0x888 (A_DELAY(683) | G_DELAY(0))	/* CFG_UART2_RXD_IN */
			0x88c (A_DELAY(0) | G_DELAY(0))		/* CFG_UART2_RXD_OEN */
			0x890 (A_DELAY(0) | G_DELAY(0))		/* CFG_UART2_RXD_OUT */
			0x894 (A_DELAY(835) | G_DELAY(0))	/* CFG_UART2_TXD_IN */
			0x898 (A_DELAY(0) | G_DELAY(0))		/* CFG_UART2_TXD_OEN */
			0x89c (A_DELAY(0) | G_DELAY(0))		/* CFG_UART2_TXD_OUT */
		>;
	};

	mmc4_iodelay_sdr12_hs_sdr25_rev11_conf: mmc4_iodelay_sdr12_hs_sdr25_rev11_conf {
		pinctrl-single,pins = <
			0x840 (A_DELAY(0) | G_DELAY(0))		/* CFG_UART1_CTSN_IN */
			0x848 (A_DELAY(2651) | G_DELAY(0))	/* CFG_UART1_CTSN_OUT */
			0x84c (A_DELAY(1572) | G_DELAY(0))	/* CFG_UART1_RTSN_IN */
			0x850 (A_DELAY(0) | G_DELAY(0))		/* CFG_UART1_RTSN_OEN */
			0x854 (A_DELAY(0) | G_DELAY(0))		/* CFG_UART1_RTSN_OUT */
			0x870 (A_DELAY(1913) | G_DELAY(0))	/* CFG_UART2_CTSN_IN */
			0x874 (A_DELAY(0) | G_DELAY(0))		/* CFG_UART2_CTSN_OEN */
			0x878 (A_DELAY(0) | G_DELAY(0))		/* CFG_UART2_CTSN_OUT */
			0x87c (A_DELAY(1721) | G_DELAY(0))	/* CFG_UART2_RTSN_IN */
			0x880 (A_DELAY(0) | G_DELAY(0))		/* CFG_UART2_RTSN_OEN */
			0x884 (A_DELAY(0) | G_DELAY(0))		/* CFG_UART2_RTSN_OUT */
			0x888 (A_DELAY(1891) | G_DELAY(0))	/* CFG_UART2_RXD_IN */
			0x88c (A_DELAY(0) | G_DELAY(0))		/* CFG_UART2_RXD_OEN */
			0x890 (A_DELAY(0) | G_DELAY(0))		/* CFG_UART2_RXD_OUT */
			0x894 (A_DELAY(1919) | G_DELAY(0))	/* CFG_UART2_TXD_IN */
			0x898 (A_DELAY(0) | G_DELAY(0))		/* CFG_UART2_TXD_OEN */
			0x89c (A_DELAY(0) | G_DELAY(0))		/* CFG_UART2_TXD_OUT */
		>;
	};

	mmc4_iodelay_sdr12_hs_sdr25_rev20_conf: mmc4_iodelay_sdr12_hs_sdr25_rev20_conf {
		pinctrl-single,pins = <
			0x840 (A_DELAY(0) | G_DELAY(0))		/* CFG_UART1_CTSN_IN */
			0x848 (A_DELAY(1147) | G_DELAY(0))	/* CFG_UART1_CTSN_OUT */
			0x84c (A_DELAY(1834) | G_DELAY(0))	/* CFG_UART1_RTSN_IN */
			0x850 (A_DELAY(0) | G_DELAY(0))		/* CFG_UART1_RTSN_OEN */
			0x854 (A_DELAY(0) | G_DELAY(0))		/* CFG_UART1_RTSN_OUT */
			0x870 (A_DELAY(2165) | G_DELAY(0))	/* CFG_UART2_CTSN_IN */
			0x874 (A_DELAY(0) | G_DELAY(0))		/* CFG_UART2_CTSN_OEN */
			0x878 (A_DELAY(0) | G_DELAY(0))		/* CFG_UART2_CTSN_OUT */
			0x87c (A_DELAY(1929) | G_DELAY(64))	/* CFG_UART2_RTSN_IN */
			0x880 (A_DELAY(0) | G_DELAY(0))		/* CFG_UART2_RTSN_OEN */
			0x884 (A_DELAY(0) | G_DELAY(0))		/* CFG_UART2_RTSN_OUT */
			0x888 (A_DELAY(1935) | G_DELAY(128))	/* CFG_UART2_RXD_IN */
			0x88c (A_DELAY(0) | G_DELAY(0))		/* CFG_UART2_RXD_OEN */
			0x890 (A_DELAY(0) | G_DELAY(0))		/* CFG_UART2_RXD_OUT */
			0x894 (A_DELAY(2172) | G_DELAY(44))	/* CFG_UART2_TXD_IN */
			0x898 (A_DELAY(0) | G_DELAY(0))		/* CFG_UART2_TXD_OEN */
			0x89c (A_DELAY(0) | G_DELAY(0))		/* CFG_UART2_TXD_OUT */
		>;
	};
};

&i2c1 {
	status = "okay";
	clock-frequency = <400000>;

	tps659038: tps659038@58 {
		compatible = "ti,tps659038";
		reg = <0x58>;
		ti,palmas-override-powerhold;
		ti,system-power-controller;

		tps659038_pmic {
			compatible = "ti,tps659038-pmic";

			regulators {
				smps123_reg: smps123 {
					/* VDD_MPU */
					regulator-name = "smps123";
					regulator-min-microvolt = < 850000>;
					regulator-max-microvolt = <1250000>;
					regulator-always-on;
					regulator-boot-on;
				};

				smps45_reg: smps45 {
					/* VDD_DSPEVE */
					regulator-name = "smps45";
					regulator-min-microvolt = < 850000>;
					regulator-max-microvolt = <1250000>;
					regulator-always-on;
					regulator-boot-on;
				};

				smps6_reg: smps6 {
					/* VDD_GPU - over VDD_SMPS6 */
					regulator-name = "smps6";
					regulator-min-microvolt = <850000>;
					regulator-max-microvolt = <1250000>;
					regulator-always-on;
					regulator-boot-on;
				};

				smps7_reg: smps7 {
					/* CORE_VDD */
					regulator-name = "smps7";
					regulator-min-microvolt = <850000>;
					regulator-max-microvolt = <1150000>;
					regulator-always-on;
					regulator-boot-on;
				};

				smps8_reg: smps8 {
					/* VDD_IVAHD */
					regulator-name = "smps8";
					regulator-min-microvolt = < 850000>;
					regulator-max-microvolt = <1250000>;
					regulator-always-on;
					regulator-boot-on;
				};

				smps9_reg: smps9 {
					/* VDDS1V8 */
					regulator-name = "smps9";
					regulator-min-microvolt = <1800000>;
					regulator-max-microvolt = <1800000>;
					regulator-always-on;
					regulator-boot-on;
				};

				ldo1_reg: ldo1 {
					/* LDO1_OUT --> SDIO  */
					regulator-name = "ldo1";
					regulator-min-microvolt = <1800000>;
					regulator-max-microvolt = <3300000>;
					regulator-always-on;
					regulator-boot-on;
				};

				ldo2_reg: ldo2 {
					/* VDD_RTCIO */
					/* LDO2 -> VDDSHV5, LDO2 also goes to CAN_PHY_3V3 */
					regulator-name = "ldo2";
					regulator-min-microvolt = <3300000>;
					regulator-max-microvolt = <3300000>;
					regulator-always-on;
					regulator-boot-on;
				};

				ldo3_reg: ldo3 {
					/* VDDA_1V8_PHY */
					regulator-name = "ldo3";
					regulator-min-microvolt = <1800000>;
					regulator-max-microvolt = <1800000>;
					regulator-always-on;
					regulator-boot-on;
				};

				ldo9_reg: ldo9 {
					/* VDD_RTC */
					regulator-name = "ldo9";
					regulator-min-microvolt = <1050000>;
					regulator-max-microvolt = <1050000>;
					regulator-always-on;
					regulator-boot-on;
					regulator-allow-bypass;
				};

				ldoln_reg: ldoln {
					/* VDDA_1V8_PLL */
					regulator-name = "ldoln";
					regulator-min-microvolt = <1800000>;
					regulator-max-microvolt = <1800000>;
					regulator-always-on;
					regulator-boot-on;
				};

				ldousb_reg: ldousb {
					/* VDDA_3V_USB: VDDA_USBHS33 */
					regulator-name = "ldousb";
					regulator-min-microvolt = <3300000>;
					regulator-max-microvolt = <3300000>;
					regulator-boot-on;
				};

				/* REGEN1 is unused */

				regen2: regen2 {
					/* Needed for PMIC internal resources */
					regulator-name = "regen2";
					regulator-boot-on;
					regulator-always-on;
				};

				/* REGEN3 is unused */

				sysen1: sysen1 {
					/* PMIC_REGEN_3V3 */
					regulator-name = "sysen1";
					regulator-boot-on;
					regulator-always-on;
				};

				sysen2: sysen2 {
					/* PMIC_REGEN_DDR */
					regulator-name = "sysen2";
					regulator-boot-on;
					regulator-always-on;
				};
			};
		};
	};

	pcf_lcd: gpio@20 {
		compatible = "nxp,pcf8575";
		reg = <0x20>;
		gpio-controller;
		#gpio-cells = <2>;
		interrupt-parent = <&gpio6>;
		interrupts = <11 IRQ_TYPE_EDGE_FALLING>;
		interrupt-controller;
		#interrupt-cells = <2>;
	};

	pcf_gpio_21: gpio@21 {
		compatible = "ti,pcf8575";
		reg = <0x21>;
		lines-initial-states = <0x1408>;
		gpio-controller;
		#gpio-cells = <2>;
		interrupt-parent = <&gpio6>;
		interrupts = <11 IRQ_TYPE_EDGE_FALLING>;
		interrupt-controller;
		#interrupt-cells = <2>;
	};

	tlv320aic3106: tlv320aic3106@19 {
		#sound-dai-cells = <0>;
		compatible = "ti,tlv320aic3106";
		reg = <0x19>;
		adc-settle-ms = <40>;
		ai3x-micbias-vg = <1>;		/* 2.0V */
		status = "okay";

		/* Regulators */
		AVDD-supply = <&evm_3v3_sw>;
		IOVDD-supply = <&evm_3v3_sw>;
		DRVDD-supply = <&evm_3v3_sw>;
		DVDD-supply = <&aic_dvdd>;
	};
};

&i2c2 {
	status = "okay";
	clock-frequency = <400000>;

	pcf_hdmi: gpio@26 {
		compatible = "nxp,pcf8575";
		reg = <0x26>;
		gpio-controller;
		#gpio-cells = <2>;
		p1 {
			/* vin6_sel_s0: high: VIN6, low: audio */
			gpio-hog;
			gpios = <1 GPIO_ACTIVE_HIGH>;
			output-low;
			line-name = "vin6_sel_s0";
		};
	};

	ov10633@37 {
		compatible = "ovti,ov10633";
		reg = <0x37>;

		mux-gpios = <&pcf_hdmi 3 GPIO_ACTIVE_LOW>; /* CAM_FPD_MUX_S0 */
		port {
			onboardLI: endpoint {
				remote-endpoint = <&vin1a>;
				hsync-active = <1>;
				vsync-active = <1>;
				pclk-sample = <0>;
			};
		};
	};
};

&mmc1 {
	status = "okay";
	vmmc-supply = <&evm_3v3_sd>;
	vmmc_aux-supply = <&ldo1_reg>;
	bus-width = <4>;
	/*
	 * SDCD signal is not being used here - using the fact that GPIO mode
	 * is always hardwired.
	 */
	cd-gpios = <&gpio6 27 GPIO_ACTIVE_LOW>;
	max-frequency = <192000000>;
	pinctrl-names = "default", "hs", "sdr12", "sdr25", "sdr50", "ddr50-rev11", "sdr104-rev11", "ddr50", "sdr104";
	pinctrl-0 = <&mmc1_pins_default>;
	pinctrl-1 = <&mmc1_pins_hs>;
	pinctrl-2 = <&mmc1_pins_sdr12>;
	pinctrl-3 = <&mmc1_pins_sdr25>;
	pinctrl-4 = <&mmc1_pins_sdr50>;
	pinctrl-5 = <&mmc1_pins_ddr50 &mmc1_iodelay_ddr50_rev11_conf>;
	pinctrl-6 = <&mmc1_pins_sdr104 &mmc1_iodelay_sdr104_rev11_conf>;
	pinctrl-7 = <&mmc1_pins_ddr50 &mmc1_iodelay_ddr50_rev20_conf>;
	pinctrl-8 = <&mmc1_pins_sdr104 &mmc1_iodelay_sdr104_rev20_conf>;
};

&mmc2 {
	status = "okay";
	vmmc-supply = <&evm_3v3_sw>;
	bus-width = <8>;
	max-frequency = <192000000>;
	pinctrl-names = "default", "hs", "ddr_1_8v-rev11", "ddr_1_8v", "hs200_1_8v-rev11", "hs200_1_8v";
	pinctrl-0 = <&mmc2_pins_default>;
	pinctrl-1 = <&mmc2_pins_hs>;
	pinctrl-2 = <&mmc2_pins_ddr_1_8v &mmc2_iodelay_ddr_1_8v_rev11_conf>;
	pinctrl-3 = <&mmc2_pins_ddr_1_8v &mmc2_iodelay_ddr_1_8v_rev20_conf>;
	pinctrl-4 = <&mmc2_pins_hs200_1_8v &mmc2_iodelay_hs200_1_8v_rev11_conf>;
	pinctrl-5 = <&mmc2_pins_hs200_1_8v &mmc2_iodelay_hs200_1_8v_rev20_conf>;
};

&mmc4 {
	status = "okay";
	vmmc-supply = <&vmmcwl_fixed>;

	pinctrl-names = "default-rev11", "default", "hs-rev11", "hs", "sdr12-rev11", "sdr12", "sdr25-rev11", "sdr25";
	pinctrl-0 = <&mmc4_pins_default &mmc4_iodelay_ds_rev11_conf>;
	pinctrl-1 = <&mmc4_pins_default &mmc4_iodelay_ds_rev20_conf>;
	pinctrl-2 = <&mmc4_pins_hs &mmc4_iodelay_sdr12_hs_sdr25_rev11_conf>;
	pinctrl-3 = <&mmc4_pins_hs &mmc4_iodelay_sdr12_hs_sdr25_rev20_conf>;
	pinctrl-4 = <&mmc4_pins_sdr12 &mmc4_iodelay_sdr12_hs_sdr25_rev11_conf>;
	pinctrl-5 = <&mmc4_pins_sdr12 &mmc4_iodelay_sdr12_hs_sdr25_rev20_conf>;
	pinctrl-6 = <&mmc4_pins_sdr25 &mmc4_iodelay_sdr12_hs_sdr25_rev11_conf>;
	pinctrl-7 = <&mmc4_pins_sdr25 &mmc4_iodelay_sdr12_hs_sdr25_rev20_conf>;
};

&oppdm_mpu {
	vdd-supply = <&smps123_reg>;
};

&oppdm_dspeve {
	vdd-supply = <&smps45_reg>;
};

&oppdm_gpu {
	vdd-supply = <&smps6_reg>;
};

&oppdm_ivahd {
	vdd-supply = <&smps8_reg>;
};

&oppdm_core {
	vdd-supply = <&smps7_reg>;
};

&omap_dwc3_2 {
	extcon = <&extcon_usb2>;
};

&elm {
	status = "okay";
};

&gpmc {
	status = "okay";
	ranges = <0 0 0x08000000 0x01000000>;	/* minimum GPMC partition = 16MB */
	nand@0,0 {
		compatible = "ti,omap2-nand";
		reg = <0 0 4>;		/* device IO registers */
		interrupt-parent = <&gpmc>;
		interrupts = <0 IRQ_TYPE_NONE>, /* fifoevent */
			     <1 IRQ_TYPE_NONE>; /* termcount */
		rb-gpios = <&gpmc 0 GPIO_ACTIVE_HIGH>; /* gpmc_wait0 pin */
		ti,nand-ecc-opt = "bch8";
		ti,elm-id = <&elm>;
		nand-bus-width = <16>;
		gpmc,device-width = <2>;
		gpmc,sync-clk-ps = <0>;
		gpmc,cs-on-ns = <0>;
		gpmc,cs-rd-off-ns = <80>;
		gpmc,cs-wr-off-ns = <80>;
		gpmc,adv-on-ns = <0>;
		gpmc,adv-rd-off-ns = <60>;
		gpmc,adv-wr-off-ns = <60>;
		gpmc,we-on-ns = <10>;
		gpmc,we-off-ns = <50>;
		gpmc,oe-on-ns = <4>;
		gpmc,oe-off-ns = <40>;
		gpmc,access-ns = <40>;
		gpmc,wr-access-ns = <80>;
		gpmc,rd-cycle-ns = <80>;
		gpmc,wr-cycle-ns = <80>;
		gpmc,bus-turnaround-ns = <0>;
		gpmc,cycle2cycle-delay-ns = <0>;
		gpmc,clk-activation-ns = <0>;
		gpmc,wr-data-mux-bus-ns = <0>;
		/* MTD partition table */
		/* All SPL-* partitions are sized to minimal length
		 * which can be independently programmable. For
		 * NAND flash this is equal to size of erase-block */
		#address-cells = <1>;
		#size-cells = <1>;
		partition@0 {
			label = "NAND.SPL";
			reg = <0x00000000 0x000020000>;
		};
		partition@1 {
			label = "NAND.SPL.backup1";
			reg = <0x00020000 0x00020000>;
		};
		partition@2 {
			label = "NAND.SPL.backup2";
			reg = <0x00040000 0x00020000>;
		};
		partition@3 {
			label = "NAND.SPL.backup3";
			reg = <0x00060000 0x00020000>;
		};
		partition@4 {
			label = "NAND.u-boot-spl-os";
			reg = <0x00080000 0x00040000>;
		};
		partition@5 {
			label = "NAND.u-boot";
			reg = <0x000c0000 0x00100000>;
		};
		partition@6 {
			label = "NAND.u-boot-env";
			reg = <0x001c0000 0x00020000>;
		};
		partition@7 {
			label = "NAND.u-boot-env.backup1";
			reg = <0x001e0000 0x00020000>;
		};
		partition@8 {
			label = "NAND.kernel";
			reg = <0x00200000 0x00800000>;
		};
		partition@9 {
			label = "NAND.file-system";
			reg = <0x00a00000 0x0f600000>;
		};
	};
};

&usb2_phy1 {
	phy-supply = <&ldousb_reg>;
};

&usb2_phy2 {
	phy-supply = <&ldousb_reg>;
};

&gpio7 {
	ti,no-reset-on-init;
	ti,no-idle-on-init;
};

&mac {
	status = "okay";
	dual_emac;
};

&cpsw_emac0 {
	phy_id = <&davinci_mdio>, <2>;
	phy-mode = "rgmii";
	dual_emac_res_vlan = <1>;
};

&cpsw_emac1 {
	phy_id = <&davinci_mdio>, <3>;
	phy-mode = "rgmii";
	dual_emac_res_vlan = <2>;
};

&mailbox5 {
	status = "okay";
	mbox_ipu1_ipc3x: mbox_ipu1_ipc3x {
		status = "okay";
	};
	mbox_dsp1_ipc3x: mbox_dsp1_ipc3x {
		status = "okay";
	};
};

&mailbox6 {
	status = "okay";
	mbox_ipu2_ipc3x: mbox_ipu2_ipc3x {
		status = "okay";
	};
	mbox_dsp2_ipc3x: mbox_dsp2_ipc3x {
		status = "okay";
	};
};

&mmu0_dsp1 {
	status = "okay";
};

&mmu1_dsp1 {
	status = "okay";
};

&mmu0_dsp2 {
	status = "okay";
};

&mmu1_dsp2 {
	status = "okay";
};

&mmu_ipu1 {
	status = "okay";
};

&mmu_ipu2 {
	status = "okay";
};

&ipu2 {
	status = "okay";
	memory-region = <&ipu2_cma_pool>;
	mboxes = <&mailbox6 &mbox_ipu2_ipc3x>;
	timers = <&timer3>;
	watchdog-timers = <&timer4>, <&timer9>;
};

&ipu1 {
	status = "okay";
	memory-region = <&ipu1_cma_pool>;
	mboxes = <&mailbox5 &mbox_ipu1_ipc3x>;
	timers = <&timer11>;
	watchdog-timers = <&timer7>, <&timer8>;
};

&dcan1 {
	status = "ok";
	pinctrl-names = "default", "sleep", "active";
	pinctrl-0 = <&dcan1_pins_sleep>;
	pinctrl-1 = <&dcan1_pins_sleep>;
	pinctrl-2 = <&dcan1_pins_default>;
};

&dsp1 {
	status = "okay";
	memory-region = <&dsp1_cma_pool>;
	mboxes = <&mailbox5 &mbox_dsp1_ipc3x>;
	timers = <&timer5>;
	watchdog-timers = <&timer10>;
};

&dsp2 {
	status = "okay";
	memory-region = <&dsp2_cma_pool>;
	mboxes = <&mailbox6 &mbox_dsp2_ipc3x>;
	timers = <&timer6>;
	watchdog-timers = <&timer13>;
};

&dss {
	status = "ok";

	vdda_video-supply = <&ldoln_reg>;
};

&hdmi {
	vdda-supply = <&ldo3_reg>;
};

&mcasp8 {
	/* not used for audio. only the AXR2 pin is used as GPIO */
	status = "okay";
};

&vin1a {
	status = "okay";
	endpoint@0 {
		slave-mode;
		remote-endpoint = <&onboardLI>;
	};
};

&bb2d {
	status = "okay";
};

